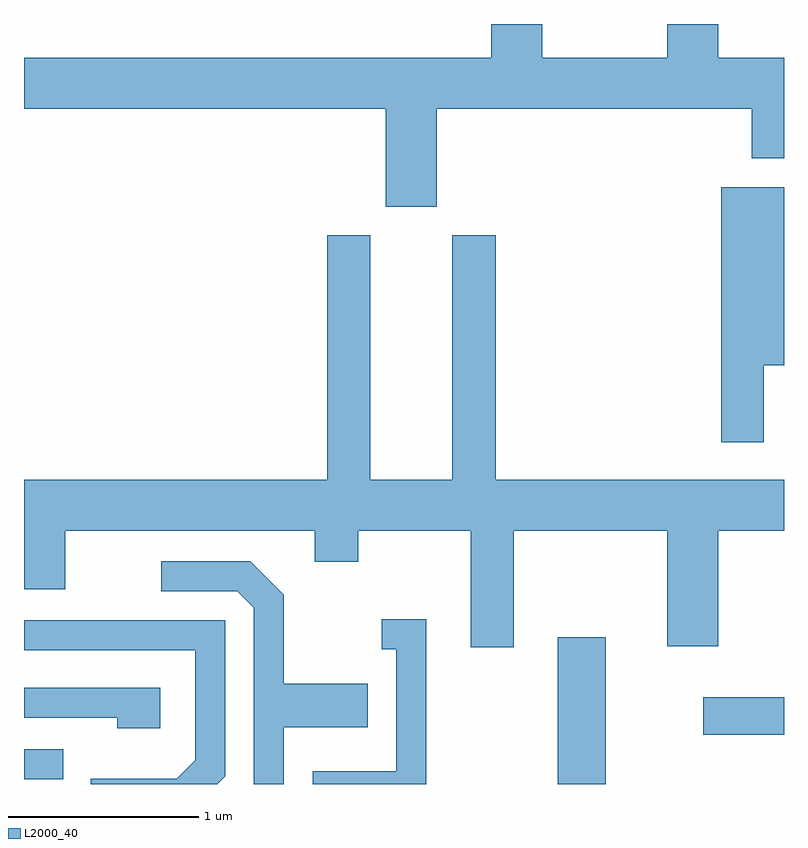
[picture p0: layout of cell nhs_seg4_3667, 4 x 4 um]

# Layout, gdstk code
import gdstk
lib = gdstk.Library(unit=1e-6, precision=1e-09)
def R(c, l, rs):  # rectangles x0, y0, x1, y1
    for r in rs: c.add(gdstk.rectangle(r[:2], r[2:], *l))
def P(c, l, *ps):  # polygons
    for p in ps: c.add(gdstk.Polygon(p, *l))
L2000_40 = (2000, 40)

nhs_seg4_3667 = lib.new_cell('nhs_seg4_3667')
R(nhs_seg4_3667, L2000_40, [(294.421,1379.982,294.674,1380.754), (291.611,1380.006,291.818,1380.164), (295.186,1380.241,295.611,1380.439)])
P(nhs_seg4_3667, L2000_40, [(293.784,1383.536),(295.441,1383.536),(295.441,1383.276),(295.611,1383.276),(295.611,1383.804),(295.264,1383.804),(295.264,1383.982),(294.996,1383.982),(294.996,1383.804),(294.339,1383.804),(294.339,1383.982),(294.071,1383.982),(294.071,1383.804),(291.611,1383.804),(291.611,1383.536),(293.516,1383.536),(293.516,1383.021),(293.784,1383.021)],
  [(295.504,1382.186),(295.611,1382.186),(295.611,1383.124),(295.281,1383.124),(295.281,1381.781),(295.504,1381.781)],
  [(294.189,1381.316),(294.996,1381.316),(294.996,1380.706),(295.264,1380.706),(295.264,1381.316),(295.611,1381.316),(295.611,1381.584),(294.094,1381.584),(294.094,1382.869),(293.866,1382.869),(293.866,1381.584),(293.434,1381.584),(293.434,1382.869),(293.206,1382.869),(293.206,1381.584),(291.611,1381.584),(291.611,1381.006),(291.829,1381.006),(291.829,1381.316),(293.141,1381.316),(293.141,1381.151),(293.369,1381.151),(293.369,1381.316),(293.961,1381.316),(293.961,1380.701),(294.189,1380.701)],
  [(292.979,1380.281),(293.419,1380.281),(293.419,1380.509),(292.979,1380.509),(292.979,1380.977),(292.802,1381.154),(292.333,1381.154),(292.333,1380.996),(292.734,1380.996),(292.821,1380.909),(292.821,1379.982),(292.979,1379.982)],
  [(293.729,1380.849),(293.493,1380.849),(293.493,1380.691),(293.571,1380.691),(293.571,1380.049),(293.131,1380.049),(293.131,1379.982),(293.729,1379.982)],
  [(292.669,1380.024),(292.669,1380.844),(291.611,1380.844),(291.611,1380.686),(292.511,1380.686),(292.511,1380.107),(292.414,1380.009),(291.961,1380.009),(291.961,1379.982),(292.627,1379.982)],
  [(292.329,1380.489),(291.611,1380.489),(291.611,1380.331),(292.101,1380.331),(292.101,1380.276),(292.329,1380.276)])

lib.write_gds('nhs_seg4_3667.gds')
